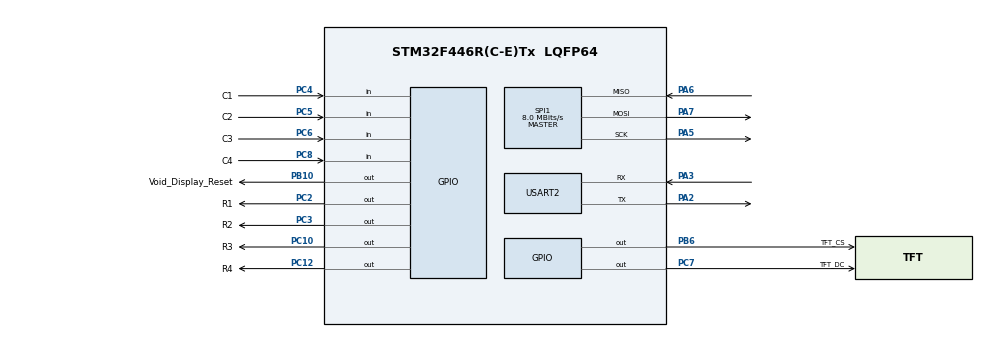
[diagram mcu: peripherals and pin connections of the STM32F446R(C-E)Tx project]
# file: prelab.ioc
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Dma.Request0=SPI1_TX
Dma.SPI1_TX.0.Direction=DMA_MEMORY_TO_PERIPH
Dma.SPI1_TX.0.FIFOMode=DMA_FIFOMODE_DISABLE
Dma.SPI1_TX.0.Instance=DMA2_Stream3
Dma.SPI1_TX.0.MemDataAlignment=DMA_MDATAALIGN_BYTE
Dma.SPI1_TX.0.MemInc=DMA_MINC_ENABLE
Dma.SPI1_TX.0.Mode=DMA_NORMAL
Dma.SPI1_TX.0.PeriphDataAlignment=DMA_PDATAALIGN_BYTE
Dma.SPI1_TX.0.PeriphInc=DMA_PINC_DISABLE
Dma.SPI1_TX.0.Priority=DMA_PRIORITY_LOW
Mcu.Family=STM32F4
Mcu.Name=STM32F446R(C-E)Tx
Mcu.Package=LQFP64
NVIC.DMA2_Stream3_IRQn=true\:0\:0\:false\:false\:true\:false\:true\:true
NVIC.PriorityGroup=NVIC_PRIORITYGROUP_4
NVIC.SPI1_IRQn=true\:0\:0\:false\:false\:true\:true\:true\:true
PA2.Mode=Asynchronous
PA2.Signal=USART2_TX
PA3.Mode=Asynchronous
PA3.Signal=USART2_RX
PA5.Mode=Full_Duplex_Master
PA5.Signal=SPI1_SCK
PA6.Mode=Full_Duplex_Master
PA6.Signal=SPI1_MISO
PA7.Mode=Full_Duplex_Master
PA7.Signal=SPI1_MOSI
PB10.GPIO_Label=Void_Display_Reset
PB10.Signal=GPIO_Output
PB6.GPIO_Label=TFT_CS
PB6.Signal=GPIO_Output
PC10.GPIO_Label=R3
PC10.Signal=GPIO_Output
PC12.GPIO_Label=R4
PC12.Signal=GPIO_Output
PC14-OSC32_IN.Mode=LSE-External-Oscillator
PC14-OSC32_IN.Signal=RCC_OSC32_IN
PC15-OSC32_OUT.Mode=LSE-External-Oscillator
PC15-OSC32_OUT.Signal=RCC_OSC32_OUT
PC2.GPIO_Label=R1
PC2.Signal=GPIO_Output
PC3.GPIO_Label=R2
PC3.Signal=GPIO_Output
PC4.GPIO_Label=C1
PC4.GPIO_PuPd=GPIO_PULLUP
PC4.Signal=GPIO_Input
PC5.GPIO_Label=C2
PC5.GPIO_PuPd=GPIO_PULLUP
PC5.Signal=GPIO_Input
PC6.GPIO_Label=C3
PC6.GPIO_PuPd=GPIO_PULLUP
PC6.Signal=GPIO_Input
PC7.GPIO_Label=TFT_DC
PC7.Signal=GPIO_Output
PC8.GPIO_Label=C4
PC8.GPIO_PuPd=GPIO_PULLUP
PC8.Signal=GPIO_Input
PH0-OSC_IN.Mode=HSE-External-Oscillator
PH0-OSC_IN.Signal=RCC_OSC_IN
PH1-OSC_OUT.Mode=HSE-External-Oscillator
PH1-OSC_OUT.Signal=RCC_OSC_OUT
ProjectManager.HeapSize=0x200
ProjectManager.StackSize=0x400
ProjectManager.TargetToolchain=MDK-ARM V5.32
RCC.CortexFreq_Value=16000000
RCC.USBFreq_Value=96000000
RCC.VCOOutputFreq_Value=192000000
SPI1.CalculateBaudRate=8.0 MBits/s
SPI1.Direction=SPI_DIRECTION_2LINES
SPI1.Mode=SPI_MODE_MASTER
SPI1.VirtualType=VM_MASTER
USART2.VirtualMode=VM_ASYNC
board=custom

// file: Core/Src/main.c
/*
  laboratoire = 4
  groupe = 2
  date = 2024/septembre/27
  auteurs = Isaac Doré, Arnaud Gagner, Justin Botbol
  équipe = 05
*/

/* USER CODE BEGIN Header */
/**
 ******************************************************************************
 * @file           : main.c
 * @brief          : Main program body
 ******************************************************************************
 * @attention
 *
 * Copyright (c) 2024 STMicroelectronics.
 * All rights reserved.
 *
 * This software is licensed under terms that can be found in the LICENSE file
 * in the root directory of this software component.
 * If no LICENSE file comes with this software, it is provided AS-IS.
 *
 ******************************************************************************
 */
/* USER CODE END Header */
#include "main.h"
#include "dma.h"
#include "gpio.h"
#include "spi.h"
#include "usart.h"

/* USER CODE BEGIN Includes */
#include "stdio.h"

#include "ili9341.h"
#include "ili9341_gfx.h"
/* USER CODE END Includes */

/* USER CODE BEGIN PV */
ili9341_t *_screen;
/* USER CODE END PV */

void SystemClock_Config(void);

/* USER CODE BEGIN 0 */
void selectRow(int r) {
  if (r == 0)
    HAL_GPIO_WritePin(R1_GPIO_Port, R1_Pin, GPIO_PIN_RESET);
  else
    HAL_GPIO_WritePin(R1_GPIO_Port, R1_Pin, GPIO_PIN_SET);
  if (r == 1)
    HAL_GPIO_WritePin(R2_GPIO_Port, R2_Pin, GPIO_PIN_RESET);
  else
    HAL_GPIO_WritePin(R2_GPIO_Port, R2_Pin, GPIO_PIN_SET);
  if (r == 2)
    HAL_GPIO_WritePin(R3_GPIO_Port, R3_Pin, GPIO_PIN_RESET);
  else
    HAL_GPIO_WritePin(R3_GPIO_Port, R3_Pin, GPIO_PIN_SET);
  if (r == 3)
    HAL_GPIO_WritePin(R4_GPIO_Port, R4_Pin, GPIO_PIN_RESET);
  else
    HAL_GPIO_WritePin(R4_GPIO_Port, R4_Pin, GPIO_PIN_SET);
}

char readCol() {
  int result = 0;
  if (HAL_GPIO_ReadPin(C1_GPIO_Port, C1_Pin) == GPIO_PIN_RESET)
    result += 1;
  if (HAL_GPIO_ReadPin(C2_GPIO_Port, C2_Pin) == GPIO_PIN_RESET)
    result += 2;
  if (HAL_GPIO_ReadPin(C3_GPIO_Port, C3_Pin) == GPIO_PIN_RESET)
    result += 4;
  if (HAL_GPIO_ReadPin(C4_GPIO_Port, C4_Pin) == GPIO_PIN_RESET)
    result += 8;
  return result;
}

int fputc(int ch, FILE *f) {
  HAL_UART_Transmit(&huart2, (uint8_t *)&ch, 1, 0xFFFF);
  return ch;
}

int row = 0;
volatile int hour = 0;
volatile int min = 0;
volatile int sec = 0;
int milli = 0;
volatile int token = 1;
volatile int keytoken = 0;

// every ms
void HAL_SYSTICK_Callback(void) {
  milli++;

  selectRow(row = ((row + 1) % 4));
  int col = readCol();
  keytoken |= (col << (row * 4));

  if (milli < 1000) {
    return;
  }
  milli = 0;
  sec++;
  token = 1;
  if (sec < 60) {
    return;
  }
  sec = 0;
  min++;
  if (min < 60) {
    return;
  }
  min = 0;
  hour++;
  if (hour < 24) {
    return;
  }
  hour = 0;
  return;
}
/* USER CODE END 0 */

int main(void) {

  /* MCU Configuration--------------------------------------------------------*/

  /* Reset of all peripherals, Initializes the Flash interface and the Systick.
   */
  HAL_Init();

  /* Configure the system clock */
  SystemClock_Config();

  /* Initialize all configured peripherals */
  MX_GPIO_Init();
  MX_DMA_Init();
  MX_SPI1_Init();
  MX_USART2_UART_Init();
  /* USER CODE BEGIN 2 */
  _screen = ili9341_new(&hspi1, Void_Display_Reset_GPIO_Port,
                        Void_Display_Reset_Pin, TFT_CS_GPIO_Port, TFT_CS_Pin,
                        TFT_DC_GPIO_Port, TFT_DC_Pin, isoLandscape, NULL, NULL,
                        NULL, NULL, itsNotSupported, itnNormalized);
  ili9341_fill_screen(_screen, ILI9341_BLACK);
  /* USER CODE END 2 */

  /* Infinite loop */
  while (1) {
    while (token == 0)
      ;
    if (keytoken & (1 << 0)) {
      // printf("inc sec\n");
      sec++;
      if (sec >= 60) {
        sec = 0;
      }
    }
    if (keytoken & (1 << 1)) {
      // printf("dec sec\n");
      sec -= 2;
      if (sec < 0) {
        sec = 0;
      }
    }
    if (keytoken & (1 << 2)) {
      // printf("inc min\n");
      min++;
      if (min >= 60) {
        min = 0;
      }
    }
    if (keytoken & (1 << 3)) {
      // printf("dec min\n");
      min--;
      if (min < 0) {
        min = 0;
      }
    }
    if (keytoken & (1 << 4)) {
      // printf("inc hour\n");
      hour++;
      if (hour >= 25) {
        hour = 0;
      }
    }
    if (keytoken & (1 << 5)) {
      // printf("dec hour\n");
      hour--;
      if (hour < 0) {
        hour = 0;
      }
    }
    char buffer[20] = {0};
    sprintf(buffer, "%2i:%2i:%2i", hour, min, sec);
    ili9341_fill_screen(_screen, ILI9341_BLACK);
    ili9341_text_attr_t time_attr = {&ili9341_font_11x18, ILI9341_WHITE,
                                     ILI9341_BLACK, 0, 0};
    ili9341_draw_string(_screen, time_attr, buffer);
    keytoken = 0;
    token = 0;

  }
}

void SystemClock_Config(void) {
  RCC_OscInitTypeDef RCC_OscInitStruct = {0};
  RCC_ClkInitTypeDef RCC_ClkInitStruct = {0};

  /** Configure the main internal regulator output voltage
   */
  __HAL_RCC_PWR_CLK_ENABLE();
  __HAL_PWR_VOLTAGESCALING_CONFIG(PWR_REGULATOR_VOLTAGE_SCALE3);

  /** Initializes the RCC Oscillators according to the specified parameters
   * in the RCC_OscInitTypeDef structure.
   */
  RCC_OscInitStruct.OscillatorType = RCC_OSCILLATORTYPE_HSI;
  RCC_OscInitStruct.HSIState = RCC_HSI_ON;
  RCC_OscInitStruct.HSICalibrationValue = RCC_HSICALIBRATION_DEFAULT;
  RCC_OscInitStruct.PLL.PLLState = RCC_PLL_NONE;
  if (HAL_RCC_OscConfig(&RCC_OscInitStruct) != HAL_OK) {
    Error_Handler();
  }

  /** Initializes the CPU, AHB and APB buses clocks
   */
  RCC_ClkInitStruct.ClockType = RCC_CLOCKTYPE_HCLK | RCC_CLOCKTYPE_SYSCLK |
                                RCC_CLOCKTYPE_PCLK1 | RCC_CLOCKTYPE_PCLK2;
  RCC_ClkInitStruct.SYSCLKSource = RCC_SYSCLKSOURCE_HSI;
  RCC_ClkInitStruct.AHBCLKDivider = RCC_SYSCLK_DIV1;
  RCC_ClkInitStruct.APB1CLKDivider = RCC_HCLK_DIV1;
  RCC_ClkInitStruct.APB2CLKDivider = RCC_HCLK_DIV1;

  if (HAL_RCC_ClockConfig(&RCC_ClkInitStruct, FLASH_LATENCY_0) != HAL_OK) {
    Error_Handler();
  }
}

void Error_Handler(void) {
  __disable_irq();
  while (1) {
  }
}

#ifdef USE_FULL_ASSERT
/**
 * @brief  Reports the name of the source file and the source line number
 *         where the assert_param error has occurred.
 * @param  file: pointer to the source file name
 * @param  line: assert_param error line source number
 * @retval None
 */
void assert_failed(uint8_t *file, uint32_t line) {
  /* USER CODE BEGIN 6 */
  /* User can add his own implementation to report the file name and line
     number,
     ex: printf("Wrong parameters value: file %s on line %d\r\n", file, line) */
  /* USER CODE END 6 */
}
#endif /* USE_FULL_ASSERT */
